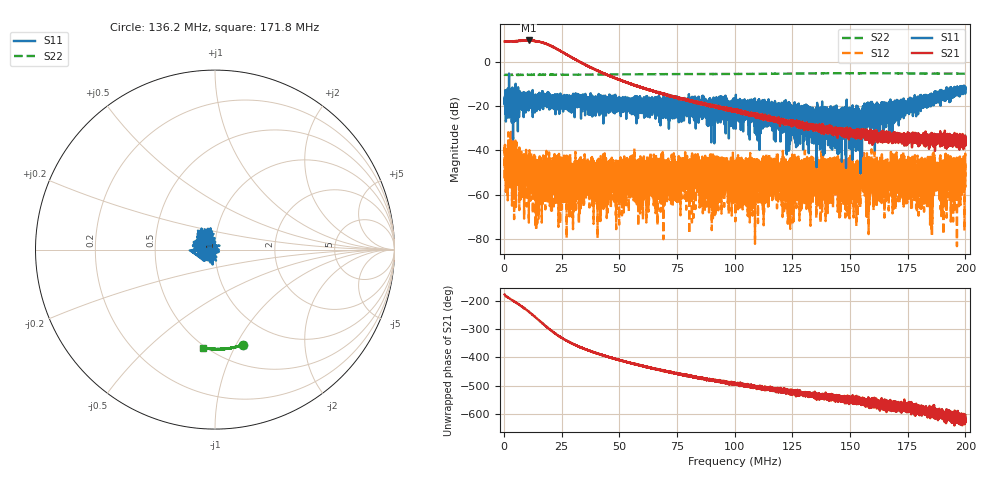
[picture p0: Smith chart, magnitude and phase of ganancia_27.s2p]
# Hz S DB R 50
! CMT, M5065, 19127446, 24.2.4/2
! Date: 11/8/2024 4:00:49 PM
! Data: Format (Calibration Info)
! Freq	S11:dB/Ang(F2)	S21:dB/Ang(F2)	S12:dB/Ang(F2)	S22:dB/Ang(F2)
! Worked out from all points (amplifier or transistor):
!   9000 points, 300 kHz to 200 MHz, reference 50 ohm
!   highest |S21| = 9.7 dB at 10.69 MHz (marker M1)
!   |S21| within 3 dB of that: start of sweep to 21.39 MHz
!   unconditionally stable (mu >= 1): start of sweep to end of sweep
!   at 33.59 MHz: K = 76.30, MAG = 1.0 dB, |S12| = -46.0 dB
!   at 100.2 MHz: K = 1710.19, MAG = -21.0 dB, |S12| = -51.2 dB
!   at 200 MHz: K = 4877.36, MAG = -33.1 dB, |S12| = -48.5 dB
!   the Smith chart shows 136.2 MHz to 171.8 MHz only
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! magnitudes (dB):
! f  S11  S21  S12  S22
! 300 kHz  -18.4  9.2  -48.1  -5.8
! 2.808 MHz  -16.6  9.3  -39.6  -5.8
! 10.69 MHz  -14.3  9.7  -50.9  -5.8
! 12.66 MHz  -17.3  9.6  -47.3  -5.8
! 14.68 MHz  -15.7  9.3  -52.5  -5.8
! 26.55 MHz  -16.3  3.8  -59.2  -5.8
! 29.33 MHz  -19.5  2.1  -50.4  -5.8
! 33.59 MHz  -20.3  -0.4  -46.0  -5.7
! 35.27 MHz  -17.3  -1.2  -47.6  -5.7
! 41.04 MHz  -17.6  -4.1  -57.9  -5.7
! 55.87 MHz  -18.4  -10.2  -43.4  -5.6
! 58.02 MHz  -16.9  -10.8  -45.0  -5.6
! 66.87 MHz  -20.4  -13.9  -48.2  -5.5
! 100.2 MHz  -23.0  -22.5  -51.2  -5.4
! 133.4 MHz  -25.9  -28.4  -52.6  -5.2
! 152.7 MHz  -25.4  -32.0  -45.1  -5.1
! 154.5 MHz  -27.5  -34.7  -55.6  -5.1
! 158.1 MHz  -27.3  -32.4  -44.0  -5.1
! 166.7 MHz  -19.7  -32.7  -50.2  -5.1
! 173.1 MHz  -19.2  -33.4  -49.1  -5.2
! 189.6 MHz  -14.1  -36.6  -65.1  -5.3
! 200 MHz  -11.7  -34.9  -48.5  -5.3
